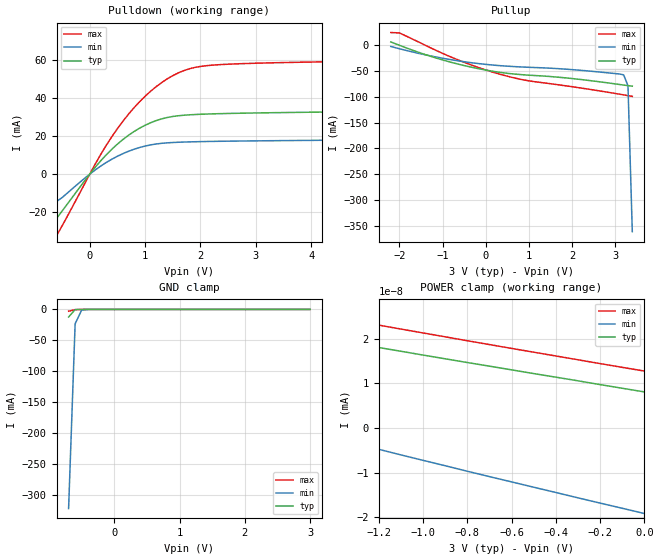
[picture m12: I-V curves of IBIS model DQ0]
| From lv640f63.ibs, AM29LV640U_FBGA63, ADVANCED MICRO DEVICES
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|   Model DQ0
[Model]   DQ0
Model_type   I/O
Vinl =   0.8000V
Vinh =   2.1000V
Vmeas = 1.5000V
Cref =  30.0000pF
C_comp   8.5000pF   8.5000pF   8.5000pF
[Temperature Range]   27.0000   100.0000   0.000
[Pullup Reference]   3.0000V   2.7000V   3.6000V
[Pulldown Reference]   0.000V   0.000V   0.000V
[POWER Clamp Reference]   3.0000V   2.7000V   3.6000V
[GND Clamp Reference]   0.000V   0.000V   0.000V
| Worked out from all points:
|   slope of the pulldown table from 0 to 0.45 V, typ, clamps not added: 31 ohm
|   slope of the pullup table from 0 to 0.45 V, typ, clamps not added: 77.9 ohm
|   GND clamp passes 1 mA (typ) near -0.61 V on its own axis
|   POWER clamp passes 1 mA (typ) near -2.60 V on its own axis
[Pulldown]
| voltage   I(typ)   I(min)   I(max)
-600mV    -23.34mA   -14.41mA   -32.51mA
100mV     3.673mA    2.233mA    5.386mA
500mV     15.85mA    9.445mA    23.99mA
700mV     20.5mA     12.06mA    31.62mA
1V        25.79mA    14.82mA    41.09mA
1.2V      28.25mA    15.92mA    46.16mA
1.5V      30.43mA    16.7mA     51.97mA
1.8V      31.3mA     17.02mA    55.6mA
2.3V      31.88mA    17.32mA    57.68mA
5.4V      33.29mA    18.27mA    59.94mA
5.6V      33.8mA     48.47mA    60.21mA
5.8V      394.2mA    1.507A     178.9mA
[Pullup]
| voltage   I(typ)   I(min)   I(max)
-2.2V     6.513mA    -2.308mA   24.7mA
-2V       -10fA      -6.738mA   24mA
-1.4V     -18.05mA   -18.52mA   -50fA
-900mV    -30.72mA   -26.58mA   -19.34mA
-200mV    -44.8mA    -35.14mA   -42.17mA
400mV     -53.29mA   -39.93mA   -57.7mA
1V        -57.94mA   -42.68mA   -68.89mA
2.1V      -65.36mA   -47.83mA   -81.52mA
3.2V      -77.11mA   -57.37mA   -96.17mA
3.3V      -78.22mA   -78.42mA   -97.6mA
3.4V      -79.31mA   -361.3mA   -99.03mA
[GND_clamp]
| voltage   I(typ)   I(min)   I(max)
-700mV    -12.31mA   -322.7mA   -2.921mA
-600mV    -365.1uA   -23.25mA   -350.3uA
-500mV    -16.8uA    -1.107mA   -42.18uA
-300mV    -44.21nA   -2.478uA   -116.7nA
3V        8.1pA      -15.66pA   7.731pA
[POWER_clamp]
| voltage   I(typ)   I(min)   I(max)
-3V       3.207A     392.2mA    13.67A
-2.2V     92.61pA    239.6pA    131.2mA
-2.1V     27.07pA    212.4pA    2.484mA
-2V       24.85pA    185.3pA    35.67uA
-1.6V     21.43pA    77.26pA    28.18pA
-1.5V     20.58pA    50.29pA    25.79pA
-1.4V     19.74pA    23.35pA    24.85pA
-1.3V     18.89pA    -3.539pA   23.97pA
-700mV    13.88pA    -10.9pA    18.72pA
0V        8.1pA      -19.18pA   12.78pA
[Ramp]
| variable   typ   min   max
dV/dt_r   2.8200/3.0135n   2.7510/5.0821n   2.8566/2.0138n
dV/dt_f   2.8344/4.7850n   2.7485/8.4458n   2.8825/2.7744n
R_load = 0.5000k
| End [Model] DQ0
